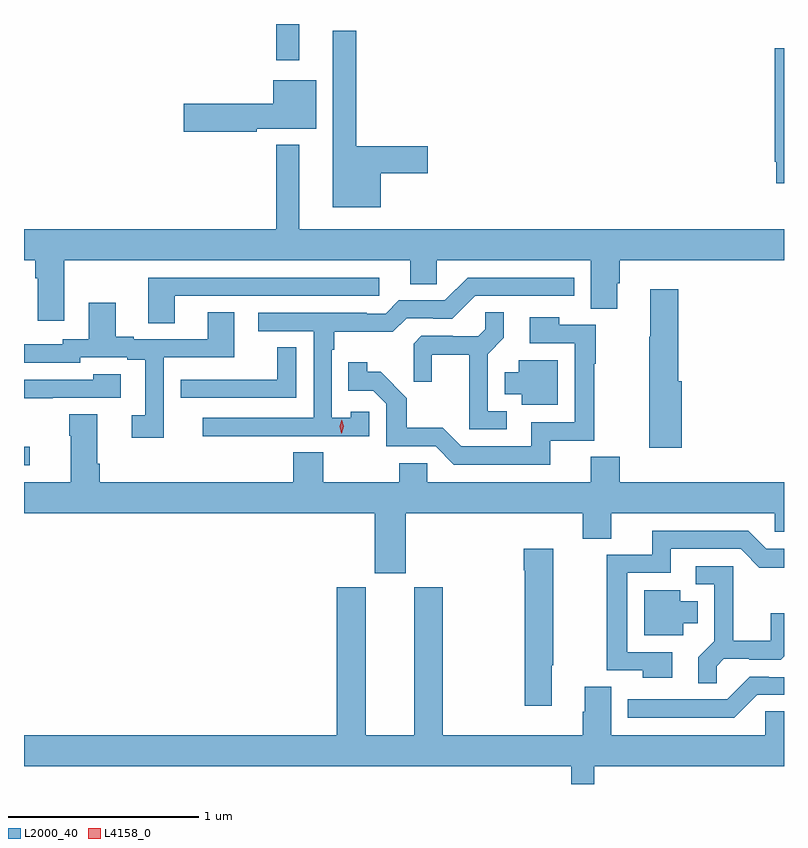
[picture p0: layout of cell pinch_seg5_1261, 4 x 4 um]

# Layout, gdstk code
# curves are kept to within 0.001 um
import gdstk
lib = gdstk.Library(unit=1e-6, precision=1e-09)
def R(c, l, rs):  # rectangles x0, y0, x1, y1
    for r in rs: c.add(gdstk.rectangle(r[:2], r[2:], *l))
def P(c, l, *ps):  # polygons
    for p in ps: c.add(gdstk.Polygon(p, *l))
L2000_40 = (2000, 40)
L4158_0 = (4158, 0)

pinch_seg5_1261 = lib.new_cell('pinch_seg5_1261')
R(pinch_seg5_1261, L2000_40, [(436.223,862.341,436.252,862.437), (437.55,864.471,437.671,864.663)])
P(pinch_seg5_1261, L2000_40, [(438.1,863.878),(438.349,863.878),(438.349,864.02),(437.971,864.02),(437.971,864.628),(437.849,864.628),(437.849,863.699),(438.1,863.699)],
  [(440.223,864.536),(440.173,864.536),(440.173,863.938),(440.181,863.938),(440.181,863.826),(440.223,863.826)],
  [(437.448,864.113),(437.761,864.113),(437.761,864.367),(437.534,864.367),(437.534,864.242),(437.064,864.242),(437.064,864.095),(437.448,864.095)],
  [(436.435,863.42),(438.257,863.42),(438.257,863.293),(438.396,863.293),(438.396,863.42),(439.205,863.42),(439.205,863.164),(439.345,863.164),(439.345,863.298),(439.358,863.298),(439.358,863.42),(440.223,863.42),(440.223,863.584),(437.671,863.584),(437.671,864.028),(437.55,864.028),(437.55,863.584),(436.223,863.584),(436.223,863.42),(436.283,863.42),(436.283,863.324),(436.295,863.324),(436.295,863.1),(436.435,863.1)],
  [(437.555,862.494),(438.039,862.494),(438.039,862.623),(437.943,862.623),(437.943,862.591),(437.844,862.591),(437.844,862.949),(437.857,862.949),(437.857,863.042),(438.164,863.042),(438.237,863.115),(438.376,863.115),(438.376,863.112),(438.477,863.112),(438.597,863.232),(439.12,863.232),(439.12,863.328),(438.558,863.328),(438.438,863.208),(438.195,863.208),(438.126,863.139),(438.026,863.139),(438.026,863.142),(437.457,863.142),(437.457,863.046),(437.748,863.046),(437.748,862.59),(437.163,862.59),(437.163,862.492),(437.555,862.492)],
  [(437.017,863.232),(438.094,863.232),(438.094,863.328),(436.877,863.328),(436.877,863.089),(437.017,863.089)],
  [(439.685,862.782),(439.667,862.782),(439.667,863.266),(439.52,863.266),(439.52,863.018),(439.513,863.018),(439.513,862.782),(439.514,862.782),(439.514,862.434),(439.685,862.434)],
  [(436.959,862.908),(437.329,862.908),(437.329,863.147),(437.189,863.147),(437.189,863.004),(436.801,863.004),(436.801,863.017),(436.705,863.017),(436.705,863.197),(436.565,863.197),(436.565,863.004),(436.428,863.004),(436.428,862.977),(436.223,862.977),(436.223,862.881),(436.518,862.881),(436.518,862.908),(436.766,862.908),(436.766,862.896),(436.862,862.896),(436.862,862.605),(436.791,862.605),(436.791,862.485),(436.959,862.485)],
  [(438.763,862.626),(438.663,862.626),(438.663,862.925),(438.749,863.011),(438.749,863.147),(438.651,863.147),(438.651,863.056),(438.614,863.019),(438.48,863.019),(438.48,863.022),(438.315,863.022),(438.274,862.981),(438.274,862.779),(438.368,862.779),(438.368,862.922),(438.566,862.922),(438.566,862.53),(438.763,862.53)],
  [(438.992,862.47),(439.223,862.47),(439.223,862.876),(439.231,862.876),(439.231,863.079),(439.041,863.079),(439.041,863.119),(438.885,863.119),(438.885,862.983),(439.122,862.983),(439.122,862.566),(438.893,862.566),(438.893,862.44),(438.525,862.44),(438.427,862.539),(438.238,862.539),(438.238,862.694),(438.1,862.832),(438.03,862.832),(438.03,862.882),(437.929,862.882),(437.929,862.734),(438.06,862.734),(438.129,862.665),(438.129,862.44),(438.39,862.44),(438.486,862.344),(438.992,862.344)],
  [(437.655,862.961),(437.557,862.961),(437.557,862.791),(437.161,862.791),(437.161,862.79),(437.049,862.79),(437.049,862.695),(437.655,862.695)],
  [(439.033,862.894),(438.827,862.894),(438.827,862.831),(438.752,862.831),(438.752,862.715),(438.842,862.715),(438.842,862.658),(439.033,862.658)],
  [(436.373,862.695),(436.732,862.695),(436.732,862.819),(436.587,862.819),(436.587,862.791),(436.223,862.791),(436.223,862.693),(436.373,862.693)],
  [(436.462,862.496),(436.469,862.496),(436.469,862.252),(436.223,862.252),(436.223,862.088),(438.068,862.088),(438.068,861.771),(438.232,861.771),(438.232,862.088),(439.163,862.088),(439.163,861.955),(439.315,861.955),(439.315,862.088),(440.175,862.088),(440.175,861.99),(440.223,861.99),(440.223,862.252),(439.358,862.252),(439.358,862.385),(439.205,862.385),(439.205,862.252),(438.345,862.252),(438.345,862.35),(438.199,862.35),(438.199,862.252),(437.799,862.252),(437.799,862.409),(437.639,862.409),(437.639,862.252),(436.622,862.252),(436.622,862.348),(436.609,862.348),(436.609,862.609),(436.462,862.609)],
  [(439.636,861.357),(439.398,861.357),(439.398,861.774),(439.627,861.774),(439.627,861.9),(439.995,861.9),(440.094,861.802),(440.223,861.802),(440.223,861.9),(440.13,861.9),(440.034,861.996),(439.529,861.996),(439.529,861.87),(439.29,861.87),(439.29,861.261),(439.48,861.261),(439.48,861.221),(439.636,861.221)],
  [(439,861.287),(439.008,861.287),(439.008,861.901),(438.854,861.901),(438.854,861.788),(438.859,861.788),(438.859,861.075),(439,861.075)],
  [(439.869,861.284),(439.906,861.321),(440.04,861.321),(440.04,861.318),(440.205,861.318),(440.223,861.336),(440.223,861.561),(440.152,861.561),(440.152,861.418),(439.955,861.418),(439.955,861.81),(439.758,861.81),(439.758,861.714),(439.857,861.714),(439.857,861.415),(439.771,861.329),(439.771,861.193),(439.869,861.193)],
  [(439.225,860.756),(440.223,860.756),(440.223,861.047),(440.124,861.047),(440.124,860.92),(439.315,860.92),(439.315,861.176),(439.175,861.176),(439.175,861.042),(439.163,861.042),(439.163,860.92),(438.426,860.92),(438.426,861.699),(438.278,861.699),(438.278,860.92),(438.022,860.92),(438.022,861.699),(437.87,861.699),(437.87,860.92),(436.223,860.92),(436.223,860.756),(439.104,860.756),(439.104,860.663),(439.225,860.663)],
  [(439.693,861.509),(439.768,861.509),(439.768,861.625),(439.678,861.625),(439.678,861.682),(439.487,861.682),(439.487,861.446),(439.693,861.446)],
  [(440.082,861.132),(440.223,861.132),(440.223,861.225),(440.144,861.225),(440.144,861.228),(440.043,861.228),(439.923,861.108),(439.4,861.108),(439.4,861.012),(439.962,861.012)])
P(pinch_seg5_1261, L4158_0, [(437.894,862.509),(437.894,862.509),(437.885,862.546),(437.895,862.581),(437.895,862.581),(437.896,862.581),(437.905,862.545),(437.895,862.509)])

lib.write_gds('pinch_seg5_1261.gds')
